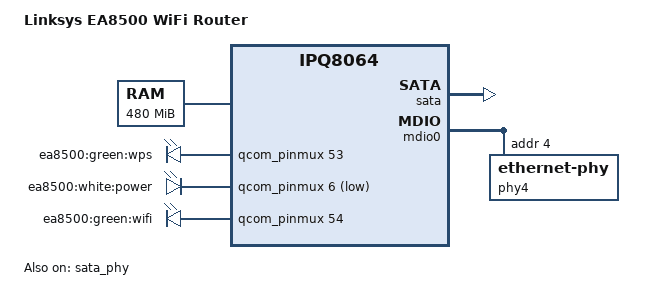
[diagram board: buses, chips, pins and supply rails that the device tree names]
#include "qcom-ipq8064-eax500.dtsi"

/ {
	model = "Linksys EA8500 WiFi Router";
	compatible = "linksys,ea8500", "qcom,ipq8064";


	/delete-node/ memory;
	memory {
		device_type = "memory";
		linux,usable-memory = <0x40000000 0x1e000000>;
	};

	memory@0 {
		reg = <0x42000000 0x1e000000>;
		device_type = "memory";
	};

	reserved-memory {
		#address-cells = <1>;
		#size-cells = <1>;
		ranges;
		rsvd@41200000 {
			reg = <0x41200000 0x300000>;
			no-map;
		};
	};

	aliases {
		mdio-gpio0 = &mdio0;

	};

	leds {
		compatible = "gpio-leds";
		pinctrl-0 = <&led_pins>;
		pinctrl-names = "default";

		wps {
			label = "ea8500:green:wps";
			gpios = <&qcom_pinmux 53 GPIO_ACTIVE_HIGH>;
		};

		led_power: power {
			label = "ea8500:white:power";
			gpios = <&qcom_pinmux 6 GPIO_ACTIVE_LOW>;
			default-state = "keep";
		};

		wifi {
			label = "ea8500:green:wifi";
			gpios = <&qcom_pinmux 54 GPIO_ACTIVE_HIGH>;
		};
	};

};

&qcom_pinmux {
	button_pins: button_pins {
		mux {
			pins = "gpio65", "gpio67", "gpio68";
			function = "gpio";
			drive-strength = <2>;
			bias-pull-up;
		};
	};

	led_pins: led_pins {
		mux {
			pins = "gpio6", "gpio53", "gpio54";
			function = "gpio";
			drive-strength = <2>;
			bias-pull-up;
		};
	};
};

&sata_phy {
	status = "okay";
};

&sata {
	status = "okay";
};

&mdio0 {
	phy4: ethernet-phy@4 {
		reg = <4>;
	};
};
